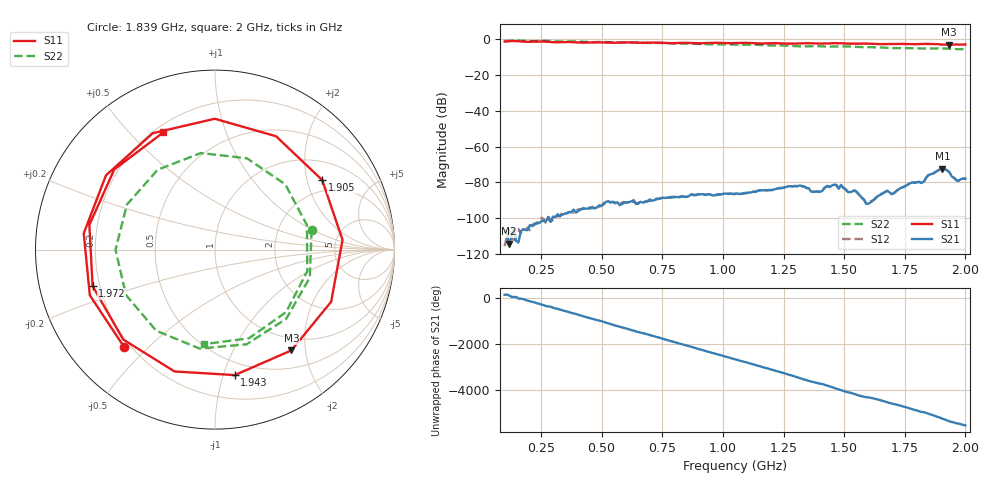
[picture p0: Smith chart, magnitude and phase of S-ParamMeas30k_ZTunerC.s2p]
!Keysight Technologies,N5242B,MY48420967,A.15.65.19
!Date: Monday, December 19, 2022 10:08:14
!Correction: S11(C  2-Port  )
!S21(C  2-Port  )
!S12(C  2-Port  )
!S22(C  2-Port  )
!S2P File: Measurements: S11, S21, S12, S22:
# Hz S  dB  R 50
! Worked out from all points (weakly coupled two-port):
!   201 points, 100 MHz to 2 GHz, reference 50 ohm
!   highest |S21| = -72.34 dB at 1.905 GHz (marker M1); lowest = -114.2 dB at 119 MHz (marker M2)
!   lowest |S11| = -3.0 dB at 1.933 GHz (marker M3), VSWR 5.77, Z = 39 - j87 ohm
!   |S11| at or under -10 dB: nowhere
!   |S22| runs from -5.6 to -0.7 dB; largest |S21 - S12| = 4.3e-06
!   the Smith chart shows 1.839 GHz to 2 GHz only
!   S11 on the Smith chart (normalised r, x): 1.839 GHz: 0.17, -0.43; 1.905 GHz: 1.58, +2.48; 1.943 GHz: 0.39, -1.09; 1.972 GHz: 0.17, -0.14; 2 GHz: 0.24, +0.63
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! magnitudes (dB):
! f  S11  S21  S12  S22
! 100 MHz  -1.3  -106.5  -115.6  -1.0
! 119 MHz  -1.0  -114.2  -106.7  -0.8
! 423 MHz  -1.9  -94.4  -94.8  -1.4
! 736.5 MHz  -1.9  -89.1  -89.1  -2.1
! 1.05 GHz  -2.1  -86.2  -86.5  -3.0
! 1.373 GHz  -2.3  -85.3  -85.2  -3.8
! 1.687 GHz  -2.7  -85.5  -85.4  -4.8
! 1.81 GHz  -2.7  -79.7  -79.6  -5.1
! 1.819 GHz  -2.7  -80.3  -80.6  -5.2
! 1.829 GHz  -2.6  -79.4  -79.6  -5.2
! 1.839 GHz  -2.6  -77.3  -77.3  -5.2
! 1.848 GHz  -2.6  -75.8  -75.8  -5.2
! 1.867 GHz  -2.7  -75.0  -75.0  -5.1
! 1.895 GHz  -2.9  -72.6  -72.7  -5.1
! 1.905 GHz  -3.0  -72.3  -72.2  -5.1
! 1.924 GHz  -3.0  -73.2  -73.2  -5.2
! 1.933 GHz  -3.0  -74.2  -74.2  -5.3
! 1.943 GHz  -3.0  -76.5  -76.5  -5.4
! 1.962 GHz  -2.9  -78.7  -78.7  -5.5
! 1.972 GHz  -3.0  -79.1  -79.1  -5.5
! 1.981 GHz  -2.9  -78.1  -78.1  -5.6
! 2 GHz  -2.9  -77.9  -77.8  -5.5
